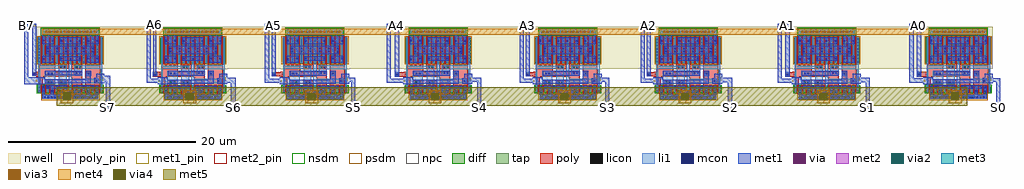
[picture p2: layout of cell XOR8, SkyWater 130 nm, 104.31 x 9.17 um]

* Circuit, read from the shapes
.subckt XOR8 A0 A1 A2 A3 A4 A5 A6 A7 B0 B1 B2 B3 B4 B5 B6 B7 S0 S1 S2 S3 S4 S5 S6 S7 VDD VSS
XM1 VSS A7 n1 VSS sky130_fd_pr__nfet_01v8 w=0.65 l=0.15
XM2 n2 n3 VSS VSS sky130_fd_pr__nfet_01v8 w=0.65 l=0.15 m=3
XM3 S7 n1 n2 VSS sky130_fd_pr__nfet_01v8 w=0.65 l=0.15 m=3
XM4 n4 A7 S7 VSS sky130_fd_pr__nfet_01v8 w=0.65 l=0.15 m=3
XM5 VSS B7 n4 VSS sky130_fd_pr__nfet_01v8 w=0.65 l=0.15 m=3
XM6 n3 B7 VSS VSS sky130_fd_pr__nfet_01v8 w=0.65 l=0.15
XM7 VSS A6 n5 VSS sky130_fd_pr__nfet_01v8 w=0.65 l=0.15
XM8 n6 n7 VSS VSS sky130_fd_pr__nfet_01v8 w=0.65 l=0.15 m=3
XM9 S6 n5 n6 VSS sky130_fd_pr__nfet_01v8 w=0.65 l=0.15 m=3
XM10 n8 A6 S6 VSS sky130_fd_pr__nfet_01v8 w=0.65 l=0.15 m=3
XM11 VSS B6 n8 VSS sky130_fd_pr__nfet_01v8 w=0.65 l=0.15 m=3
XM12 n7 B6 VSS VSS sky130_fd_pr__nfet_01v8 w=0.65 l=0.15
XM13 VSS A5 n9 VSS sky130_fd_pr__nfet_01v8 w=0.65 l=0.15
XM14 n10 n11 VSS VSS sky130_fd_pr__nfet_01v8 w=0.65 l=0.15 m=3
XM15 S5 n9 n10 VSS sky130_fd_pr__nfet_01v8 w=0.65 l=0.15 m=3
XM16 n12 A5 S5 VSS sky130_fd_pr__nfet_01v8 w=0.65 l=0.15 m=3
XM17 VSS B5 n12 VSS sky130_fd_pr__nfet_01v8 w=0.65 l=0.15 m=3
XM18 n11 B5 VSS VSS sky130_fd_pr__nfet_01v8 w=0.65 l=0.15
XM19 VSS A4 n13 VSS sky130_fd_pr__nfet_01v8 w=0.65 l=0.15
XM20 n14 n15 VSS VSS sky130_fd_pr__nfet_01v8 w=0.65 l=0.15 m=3
XM21 S4 n13 n14 VSS sky130_fd_pr__nfet_01v8 w=0.65 l=0.15 m=3
XM22 n16 A4 S4 VSS sky130_fd_pr__nfet_01v8 w=0.65 l=0.15 m=3
XM23 VSS B4 n16 VSS sky130_fd_pr__nfet_01v8 w=0.65 l=0.15 m=3
XM24 n15 B4 VSS VSS sky130_fd_pr__nfet_01v8 w=0.65 l=0.15
XM25 VSS A3 n17 VSS sky130_fd_pr__nfet_01v8 w=0.65 l=0.15
XM26 n18 n19 VSS VSS sky130_fd_pr__nfet_01v8 w=0.65 l=0.15 m=3
XM27 S3 n17 n18 VSS sky130_fd_pr__nfet_01v8 w=0.65 l=0.15 m=3
XM28 n20 A3 S3 VSS sky130_fd_pr__nfet_01v8 w=0.65 l=0.15 m=3
XM29 VSS B3 n20 VSS sky130_fd_pr__nfet_01v8 w=0.65 l=0.15 m=3
XM30 n19 B3 VSS VSS sky130_fd_pr__nfet_01v8 w=0.65 l=0.15
XM31 VSS A2 n21 VSS sky130_fd_pr__nfet_01v8 w=0.65 l=0.15
XM32 n22 n23 VSS VSS sky130_fd_pr__nfet_01v8 w=0.65 l=0.15 m=3
XM33 S2 n21 n22 VSS sky130_fd_pr__nfet_01v8 w=0.65 l=0.15 m=3
XM34 n24 A2 S2 VSS sky130_fd_pr__nfet_01v8 w=0.65 l=0.15 m=3
XM35 VSS B2 n24 VSS sky130_fd_pr__nfet_01v8 w=0.65 l=0.15 m=3
XM36 n23 B2 VSS VSS sky130_fd_pr__nfet_01v8 w=0.65 l=0.15
XM37 VSS A1 n25 VSS sky130_fd_pr__nfet_01v8 w=0.65 l=0.15
XM38 n26 n27 VSS VSS sky130_fd_pr__nfet_01v8 w=0.65 l=0.15 m=3
XM39 S1 n25 n26 VSS sky130_fd_pr__nfet_01v8 w=0.65 l=0.15 m=3
XM40 n28 A1 S1 VSS sky130_fd_pr__nfet_01v8 w=0.65 l=0.15 m=3
XM41 VSS B1 n28 VSS sky130_fd_pr__nfet_01v8 w=0.65 l=0.15 m=3
XM42 n27 B1 VSS VSS sky130_fd_pr__nfet_01v8 w=0.65 l=0.15
XM43 VSS A0 n29 VSS sky130_fd_pr__nfet_01v8 w=0.65 l=0.15
XM44 n30 n31 VSS VSS sky130_fd_pr__nfet_01v8 w=0.65 l=0.15 m=3
XM45 S0 n29 n30 VSS sky130_fd_pr__nfet_01v8 w=0.65 l=0.15 m=3
XM46 n32 A0 S0 VSS sky130_fd_pr__nfet_01v8 w=0.65 l=0.15 m=3
XM47 VSS B0 n32 VSS sky130_fd_pr__nfet_01v8 w=0.65 l=0.15 m=3
XM48 n31 B0 VSS VSS sky130_fd_pr__nfet_01v8 w=0.65 l=0.15
XM49 VDD A7 n1 VDD sky130_fd_pr__pfet_01v8 w=2.75 l=0.15
XM50 n33 A7 VDD VDD sky130_fd_pr__pfet_01v8 w=2.75 l=0.15 m=3
XM51 S7 n1 n33 VDD sky130_fd_pr__pfet_01v8 w=2.75 l=0.15 m=3
XM52 n33 n3 S7 VDD sky130_fd_pr__pfet_01v8 w=2.75 l=0.15 m=3
XM53 VDD B7 n33 VDD sky130_fd_pr__pfet_01v8 w=2.75 l=0.15 m=3
XM54 n3 B7 VDD VDD sky130_fd_pr__pfet_01v8 w=2.75 l=0.15
XM55 VDD A6 n5 VDD sky130_fd_pr__pfet_01v8 w=2.75 l=0.15
XM56 n34 A6 VDD VDD sky130_fd_pr__pfet_01v8 w=2.75 l=0.15 m=3
XM57 S6 n5 n34 VDD sky130_fd_pr__pfet_01v8 w=2.75 l=0.15 m=3
XM58 n34 n7 S6 VDD sky130_fd_pr__pfet_01v8 w=2.75 l=0.15 m=3
XM59 VDD B6 n34 VDD sky130_fd_pr__pfet_01v8 w=2.75 l=0.15 m=3
XM60 n7 B6 VDD VDD sky130_fd_pr__pfet_01v8 w=2.75 l=0.15
XM61 VDD A5 n9 VDD sky130_fd_pr__pfet_01v8 w=2.75 l=0.15
XM62 n35 A5 VDD VDD sky130_fd_pr__pfet_01v8 w=2.75 l=0.15 m=3
XM63 S5 n9 n35 VDD sky130_fd_pr__pfet_01v8 w=2.75 l=0.15 m=3
XM64 n35 n11 S5 VDD sky130_fd_pr__pfet_01v8 w=2.75 l=0.15 m=3
XM65 VDD B5 n35 VDD sky130_fd_pr__pfet_01v8 w=2.75 l=0.15 m=3
XM66 n11 B5 VDD VDD sky130_fd_pr__pfet_01v8 w=2.75 l=0.15
XM67 VDD A4 n13 VDD sky130_fd_pr__pfet_01v8 w=2.75 l=0.15
XM68 n36 A4 VDD VDD sky130_fd_pr__pfet_01v8 w=2.75 l=0.15 m=3
XM69 S4 n13 n36 VDD sky130_fd_pr__pfet_01v8 w=2.75 l=0.15 m=3
XM70 n36 n15 S4 VDD sky130_fd_pr__pfet_01v8 w=2.75 l=0.15 m=3
XM71 VDD B4 n36 VDD sky130_fd_pr__pfet_01v8 w=2.75 l=0.15 m=3
XM72 n15 B4 VDD VDD sky130_fd_pr__pfet_01v8 w=2.75 l=0.15
XM73 VDD A3 n17 VDD sky130_fd_pr__pfet_01v8 w=2.75 l=0.15
XM74 n37 A3 VDD VDD sky130_fd_pr__pfet_01v8 w=2.75 l=0.15 m=3
XM75 S3 n17 n37 VDD sky130_fd_pr__pfet_01v8 w=2.75 l=0.15 m=3
XM76 n37 n19 S3 VDD sky130_fd_pr__pfet_01v8 w=2.75 l=0.15 m=3
XM77 VDD B3 n37 VDD sky130_fd_pr__pfet_01v8 w=2.75 l=0.15 m=3
XM78 n19 B3 VDD VDD sky130_fd_pr__pfet_01v8 w=2.75 l=0.15
XM79 VDD A2 n21 VDD sky130_fd_pr__pfet_01v8 w=2.75 l=0.15
XM80 n38 A2 VDD VDD sky130_fd_pr__pfet_01v8 w=2.75 l=0.15 m=3
XM81 S2 n21 n38 VDD sky130_fd_pr__pfet_01v8 w=2.75 l=0.15 m=3
XM82 n38 n23 S2 VDD sky130_fd_pr__pfet_01v8 w=2.75 l=0.15 m=3
XM83 VDD B2 n38 VDD sky130_fd_pr__pfet_01v8 w=2.75 l=0.15 m=3
XM84 n23 B2 VDD VDD sky130_fd_pr__pfet_01v8 w=2.75 l=0.15
XM85 VDD A1 n25 VDD sky130_fd_pr__pfet_01v8 w=2.75 l=0.15
XM86 n39 A1 VDD VDD sky130_fd_pr__pfet_01v8 w=2.75 l=0.15 m=3
XM87 S1 n25 n39 VDD sky130_fd_pr__pfet_01v8 w=2.75 l=0.15 m=3
XM88 n39 n27 S1 VDD sky130_fd_pr__pfet_01v8 w=2.75 l=0.15 m=3
XM89 VDD B1 n39 VDD sky130_fd_pr__pfet_01v8 w=2.75 l=0.15 m=3
XM90 n27 B1 VDD VDD sky130_fd_pr__pfet_01v8 w=2.75 l=0.15
XM91 VDD A0 n29 VDD sky130_fd_pr__pfet_01v8 w=2.75 l=0.15
XM92 n40 A0 VDD VDD sky130_fd_pr__pfet_01v8 w=2.75 l=0.15 m=3
XM93 S0 n29 n40 VDD sky130_fd_pr__pfet_01v8 w=2.75 l=0.15 m=3
XM94 n40 n31 S0 VDD sky130_fd_pr__pfet_01v8 w=2.75 l=0.15 m=3
XM95 VDD B0 n40 VDD sky130_fd_pr__pfet_01v8 w=2.75 l=0.15 m=3
XM96 n31 B0 VDD VDD sky130_fd_pr__pfet_01v8 w=2.75 l=0.15
.ends

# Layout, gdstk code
import gdstk
lib = gdstk.Library(unit=1e-6, precision=1e-09)
def R(c, l, rs):  # rectangles x0, y0, x1, y1
    for r in rs: c.add(gdstk.rectangle(r[:2], r[2:], *l))
def A(c, l, x, y, w, h, nx, ny, dx, dy):  # array of equal rectangles
    R(c, l, [(x+i*dx, y+j*dy, x+i*dx+w, y+j*dy+h) for i in range(nx) for j in range(ny)])
nwell = (64, 20)
diff = (65, 20)
tap = (65, 44)
poly_pin = (66, 16)
poly = (66, 20)
licon = (66, 44)
li1 = (67, 20)
mcon = (67, 44)
met1_pin = (68, 16)
met1 = (68, 20)
via = (68, 44)
met2_pin = (69, 16)
met2 = (69, 20)
via2 = (69, 44)
met3 = (70, 20)
via3 = (70, 44)
met4 = (71, 20)
via4 = (71, 44)
met5 = (72, 20)
nsdm = (93, 44)
psdm = (94, 20)
npc = (95, 20)

xor2 = lib.new_cell('XOR2')
R(xor2, nwell, [(-0.435,4.32,6.855,8.82)])
R(xor2, diff, [(-0.255,1.835,6.675,2.485), (-0.255,4.935,6.675,7.685)])
R(xor2, tap, [(0.21,1.11,6.22,1.565), (0.185,7.98,6.235,8.61)])
R(xor2, poly_pin, [(-0.36,3.66,-0.24,3.86)])
A(xor2, poly, 0.495, 1.705, 0.15, 0.89, 12, 1, 0.48, 0)
A(xor2, poly, 0.495, 4.78, 0.15, 3.06, 3, 1, 0.48, 0)
A(xor2, poly, 3.375, 4.78, 0.15, 3.06, 6, 1, 0.48, 0)
A(xor2, poly, 1.935, 4.785, 0.15, 3.055, 3, 1, 0.48, 0)
R(xor2, poly, [(0.035,1.705,0.185,2.61), (6.235,1.705,6.385,2.595), (0.495,2.595,1.605,3.16), (1.935,2.595,3.045,3.135), (3.375,2.595,4.485,3.485), (4.815,2.595,6.385,4.78), (-0.13,2.61,0.25,3.485), (-0.435,3.485,4.485,4.03), (-0.13,4.03,1.615,4.78), (3.375,4.315,4.485,4.78), (1.935,4.32,3.045,4.785), (0.035,4.78,0.185,7.815), (6.235,4.78,6.385,7.815)])
A(xor2, licon, 0.415, 1.255, 0.17, 0.17, 17, 2, 0.34, 6.95)
A(xor2, licon, 0.245, 1.905, 0.17, 0.17, 13, 2, 0.48, 0.34)
A(xor2, licon, -0.195, 5.035, 0.17, 0.17, 1, 8, 0, 0.34)
A(xor2, licon, 0.245, 5.035, 0.17, 0.17, 13, 8, 0.48, 0.34)
A(xor2, licon, 6.445, 5.035, 0.17, 0.17, 1, 8, 0, 0.34)
R(xor2, licon, [(-0.195,1.905,-0.025,2.075), (6.445,1.905,6.615,2.075), (-0.195,2.245,-0.025,2.415), (6.445,2.245,6.615,2.415), (2.195,2.795,2.365,2.965), (2.535,2.795,2.705,2.965), (0.78,2.835,0.95,3.005), (1.12,2.835,1.29,3.005), (5.05,3.77,5.22,3.94), (3.81,4.415,3.98,4.585), (4.15,4.415,4.32,4.585), (2.155,4.44,2.325,4.61), (2.495,4.44,2.665,4.61)])
A(xor2, li1, 0.245, 1.815, 0.17, 0.69, 6, 1, 0.48, 0)
A(xor2, li1, 3.605, 1.815, 0.17, 0.69, 6, 1, 0.48, 0)
A(xor2, li1, 0.245, 4.915, 0.17, 2.79, 6, 1, 0.48, 0)
A(xor2, li1, 3.605, 4.915, 0.17, 2.79, 6, 1, 0.48, 0)
R(xor2, li1, [(0.21,1.11,6.22,1.565), (-0.195,1.815,-0.025,4.345), (3.125,1.815,3.295,2.63), (6.445,1.815,6.615,4.32), (3.045,2.63,3.375,2.8), (0.485,2.675,1.59,4.125), (1.99,2.685,2.815,4.345), (3.045,2.8,6.245,3.28), (3.045,3.28,3.375,4.78), (4.85,3.585,5.425,4.115), (3.605,3.62,4.49,4.32), (3.605,4.32,6.615,4.705), (-0.195,4.345,2.815,4.69), (-0.195,4.69,-0.025,7.705), (6.445,4.705,6.615,7.705), (3.125,4.78,3.295,7.705), (0.185,7.98,6.235,8.61)])
A(xor2, mcon, 0.435, 1.255, 0.17, 0.17, 16, 2, 0.36, 6.95)
A(xor2, mcon, 1.205, 1.825, 0.17, 0.17, 5, 1, 0.96, 0)
A(xor2, mcon, 3.605, 2.33, 0.17, 0.17, 3, 1, 0.96, 0)
A(xor2, mcon, 0.725, 6.09, 0.17, 0.17, 5, 2, 0.96, 0.36)
A(xor2, mcon, 3.125, 7.24, 0.17, 0.17, 4, 1, 0.96, 0)
R(xor2, mcon, [(0.245,1.895,0.415,2.065), (6.005,1.895,6.175,2.065), (0.245,2.255,0.415,2.425), (6.005,2.255,6.175,2.425), (2.645,2.325,2.815,2.495), (0.725,2.33,0.895,2.5), (1.685,2.33,1.855,2.5), (5.92,2.945,6.09,3.115), (0.8,3.77,0.97,3.94), (1.16,3.77,1.33,3.94), (5.05,3.77,5.22,3.94), (3.785,3.81,3.955,3.98), (4.145,3.81,4.315,3.98), (0.245,5.28,0.415,5.45), (3.125,5.31,3.295,5.48), (2.165,5.355,2.335,5.525), (4.085,5.355,4.255,5.525), (1.205,5.37,1.375,5.54), (5.045,5.37,5.215,5.54), (6.005,5.37,6.175,5.54), (5.525,6.085,5.695,6.255), (5.525,6.445,5.695,6.615), (2.165,7.245,2.335,7.415), (0.245,7.255,0.415,7.425), (1.205,7.255,1.375,7.425)])
R(xor2, met1_pin, [(1.84,1.28,2.31,1.41), (-0.47,2.94,-0.35,3.14), (6.48,3.08,6.74,3.47)])
R(xor2, met1, [(0.21,1.11,6.22,1.565), (0.21,1.565,0.485,2.505), (1.135,1.565,1.46,2.08), (4.965,1.565,5.29,2.075), (5.945,1.565,6.22,2.505), (2.1,1.735,4.335,2.055), (0.645,2.22,2.895,2.56), (3.525,2.22,5.775,2.56), (-0.545,2.71,0.48,2.77), (-0.545,2.77,5.42,3.2), (5.79,2.775,6.855,3.355), (-0.545,3.2,0.48,3.425), (4.845,3.2,5.42,4.12), (6,3.355,6.855,3.82), (0.55,3.625,4.495,4.12), (0.185,4.995,1.455,5.73), (4.965,4.995,6.235,5.73), (2.085,5.215,4.335,5.675), (0.645,5.895,5.775,6.79), (0.185,6.98,1.455,7.94), (2.085,6.98,4.335,7.715), (4.965,6.98,6.235,7.94), (0.185,7.94,6.235,8.61)])
A(xor2, via, 0.585, 8.215, 0.15, 0.15, 17, 1, 0.32, 0)
R(xor2, via, [(2.79,1.285,2.94,1.435)])
R(xor2, met2_pin, [(2.19,8.22,2.66,8.35)])
R(xor2, met2, [(2.66,1.155,3.07,1.565), (0.185,7.98,6.235,8.61)])
A(xor2, via2, 0.52, 8.19, 0.2, 0.2, 14, 1, 0.4, 0)
R(xor2, via2, [(2.765,1.26,2.965,1.46)])
R(xor2, met3, [(2.59,1.11,3.22,1.565), (0.185,7.98,6.235,8.61)])
A(xor2, via3, 0.52, 8.19, 0.2, 0.2, 14, 1, 0.4, 0)
R(xor2, via3, [(2.765,1.26,2.965,1.46)])
R(xor2, met4, [(2.185,0.68,3.545,2.04), (0.185,7.98,6.235,8.61)])
R(xor2, via4, [(2.465,0.96,3.265,1.76)])
R(xor2, met5, [(1.77,0.385,4.12,2.355)])
R(xor2, nsdm, [(-0.38,1.71,6.8,2.61), (0.06,7.855,6.36,8.735)])
R(xor2, psdm, [(0.085,0.985,6.345,1.69), (-0.38,4.81,6.8,7.81)])
R(xor2, npc, [(2.095,2.695,2.805,3.065), (0.68,2.735,1.39,3.105), (4.95,3.67,5.32,4.04), (3.71,4.315,4.42,4.685), (2.055,4.34,2.765,4.71)])
xor2.add(gdstk.Label('A', (-0.3,3.76), layer=66, texttype=16))
xor2.add(gdstk.Label('B', (-0.41,3.04), layer=68, texttype=16))
xor2.add(gdstk.Label('VSS', (2.075,1.345), layer=68, texttype=16))
xor2.add(gdstk.Label('VDD', (2.425,8.285), layer=68, texttype=16))
xor2.add(gdstk.Label('Y', (6.61,3.275), layer=68, texttype=16))

xor8 = lib.new_cell('XOR8')
R(xor8, nwell, [(0.11,3.935,102.31,8.435)])
R(xor8, poly, [(12.545,3.09,13.235,3.185), (0.09,3.1,0.655,3.21), (80.18,3.115,80.97,3.175), (38.435,3.12,39.45,3.18), (94.225,3.125,95.025,3.185), (25.27,3.13,26.295,3.19), (52.42,3.13,53.345,3.19), (65.36,3.145,66.21,3.205), (80.18,3.175,81.395,3.545), (38.435,3.18,39.87,3.54), (12.545,3.185,13.66,3.54), (94.225,3.185,95.475,3.555), (25.27,3.19,26.695,3.53), (52.42,3.19,53.705,3.535), (65.36,3.205,66.58,3.515), (-0.32,3.21,0.655,3.545), (65.36,3.515,66.21,3.575), (25.27,3.53,26.295,3.595), (52.42,3.535,53.345,3.595), (12.545,3.54,13.235,3.635), (38.435,3.54,39.45,3.6), (0.09,3.545,0.655,3.645), (80.18,3.545,80.97,3.605), (94.225,3.555,95.025,3.615)])
R(xor8, licon, [(12.695,3.275,12.865,3.445), (25.415,3.275,25.585,3.445), (38.59,3.275,38.76,3.445), (52.535,3.275,52.705,3.445), (65.46,3.275,65.63,3.445), (80.31,3.275,80.48,3.445), (94.355,3.285,94.525,3.455), (-0.24,3.29,-0.07,3.46)])
R(xor8, li1, [(80.26,3.145,80.53,3.175), (38.545,3.15,38.805,3.18), (12.655,3.155,12.91,3.185), (94.305,3.155,94.575,3.185), (25.38,3.16,25.62,3.19), (52.5,3.16,52.745,3.19), (65.44,3.175,65.65,3.205), (80.21,3.175,80.58,3.545), (38.495,3.18,38.855,3.54), (12.605,3.185,12.96,3.54), (94.255,3.185,94.625,3.555), (25.33,3.19,25.67,3.53), (52.45,3.19,52.795,3.535), (65.39,3.205,65.7,3.515), (-0.24,3.21,-0.07,3.27), (-0.26,3.27,-0.045,3.485), (-0.24,3.485,-0.07,3.54), (65.44,3.515,65.65,3.545), (25.38,3.53,25.62,3.56), (52.5,3.535,52.745,3.565), (12.655,3.54,12.91,3.57), (38.545,3.54,38.805,3.57), (80.26,3.545,80.53,3.575), (94.305,3.555,94.575,3.585)])
R(xor8, mcon, [(12.695,3.275,12.865,3.445), (25.415,3.275,25.585,3.445), (38.59,3.275,38.76,3.445), (52.535,3.275,52.705,3.445), (65.46,3.275,65.63,3.445), (80.31,3.275,80.48,3.445), (94.355,3.285,94.525,3.455), (-0.24,3.29,-0.07,3.46)])
R(xor8, met1_pin, [(33.87,-0.35,34.155,-0.12), (61,-0.35,61.285,-0.12), (88.815,-0.34,89.1,-0.11), (47.32,-0.335,47.605,-0.105), (102.79,-0.33,103.075,-0.1), (7.625,-0.325,7.91,-0.095), (21.03,-0.315,21.315,-0.085), (74.12,-0.315,74.405,-0.085), (-1.175,8.445,-0.78,8.755), (-0.265,8.48,0.02,8.71), (38.51,8.48,38.795,8.71), (25.35,8.49,25.635,8.72), (37.625,8.49,37.91,8.72), (93.515,8.49,93.8,8.72), (24.605,8.495,24.89,8.725), (64.78,8.495,65.065,8.725), (94.295,8.495,94.58,8.725), (80.255,8.5,80.54,8.73), (65.405,8.505,65.69,8.735), (11.995,8.51,12.28,8.74), (52.475,8.51,52.76,8.74), (79.42,8.51,79.705,8.74), (12.645,8.52,12.93,8.75), (51.85,8.52,52.135,8.75)])
R(xor8, met1, [(7.55,-0.385,8.015,2.52), (20.91,-0.385,21.43,2.46), (33.795,-0.385,34.225,2.56), (47.245,-0.385,47.66,2.59), (60.925,-0.385,61.37,2.57), (74.01,-0.385,74.485,2.525), (88.745,-0.385,89.19,2.54), (102.73,-0.385,103.11,2.545), (-1.195,2.325,0.715,3.04), (24.525,2.435,26.735,2.905), (93.41,2.435,95.515,2.93), (37.55,2.44,39.895,2.9), (79.345,2.445,81.415,2.9), (51.77,2.45,53.73,2.895), (64.715,2.455,66.62,2.89), (11.935,2.46,13.665,2.88), (19.895,2.46,21.43,2.98), (6.715,2.52,8.015,3.205), (72.865,2.525,74.485,3), (87.665,2.54,89.19,2.985), (101.775,2.545,103.11,2.925), (32.985,2.56,34.225,2.99), (59.985,2.57,61.37,3.015), (46.16,2.59,47.66,3.005), (11.935,2.88,12.355,3.6), (64.715,2.89,65.15,8.78), (51.77,2.895,52.215,8.78), (37.55,2.9,38.01,8.78), (79.345,2.9,79.8,8.78), (24.525,2.905,24.995,8.78), (93.41,2.93,93.905,8.78), (-1.195,3.04,-0.735,8.78), (80.18,3.115,80.64,8.78), (38.435,3.12,38.915,8.78), (94.225,3.125,94.685,8.78), (52.42,3.13,52.85,8.78), (65.36,3.145,65.76,8.78), (12.545,3.155,13.02,3.6), (25.27,3.16,25.73,8.78), (-0.32,3.21,0.105,8.78), (11.93,3.6,12.36,8.78), (12.605,3.6,12.96,8.78)])
R(xor8, met4, [(0.73,7.595,101.69,8.225)])
R(xor8, met5, [(2.525,0.005,99.585,1.97)])
R(xor8, npc, [(12.595,3.175,12.965,3.545), (25.315,3.175,25.685,3.545), (38.49,3.175,38.86,3.545), (52.435,3.175,52.805,3.545), (65.36,3.175,65.73,3.545), (80.21,3.175,80.58,3.545), (94.255,3.185,94.625,3.555), (-0.34,3.19,0.03,3.56)])
xor8.add(gdstk.Reference(xor2, (81.375,-0.395)))
xor8.add(gdstk.Reference(xor2, (66.59,-0.395)))
xor8.add(gdstk.Reference(xor2, (53.695,-0.395)))
xor8.add(gdstk.Reference(xor2, (39.855,-0.395)))
xor8.add(gdstk.Reference(xor2, (26.69,-0.395)))
xor8.add(gdstk.Reference(xor2, (13.645,-0.395)))
xor8.add(gdstk.Reference(xor2, (0.545,-0.385)))
xor8.add(gdstk.Reference(xor2, (95.455,-0.385)))
xor8.add(gdstk.Label('B7', (-0.977,8.6), layer=68, texttype=16))
xor8.add(gdstk.Label('A7', (-0.122,8.595), layer=68, texttype=16))
xor8.add(gdstk.Label('A6', (12.787,8.635), layer=68, texttype=16))
xor8.add(gdstk.Label('A5', (25.492,8.605), layer=68, texttype=16))
xor8.add(gdstk.Label('A4', (38.652,8.595), layer=68, texttype=16))
xor8.add(gdstk.Label('A3', (52.617,8.625), layer=68, texttype=16))
xor8.add(gdstk.Label('A2', (65.547,8.62), layer=68, texttype=16))
xor8.add(gdstk.Label('A1', (80.397,8.615), layer=68, texttype=16))
xor8.add(gdstk.Label('A0', (94.437,8.61), layer=68, texttype=16))
xor8.add(gdstk.Label('B0', (93.657,8.605), layer=68, texttype=16))
xor8.add(gdstk.Label('B1', (79.562,8.625), layer=68, texttype=16))
xor8.add(gdstk.Label('B2', (64.922,8.61), layer=68, texttype=16))
xor8.add(gdstk.Label('B3', (51.992,8.635), layer=68, texttype=16))
xor8.add(gdstk.Label('B4', (37.767,8.605), layer=68, texttype=16))
xor8.add(gdstk.Label('B5', (24.747,8.61), layer=68, texttype=16))
xor8.add(gdstk.Label('B6', (12.137,8.625), layer=68, texttype=16))
xor8.add(gdstk.Label('S7', (7.767,-0.21), layer=68, texttype=16))
xor8.add(gdstk.Label('S6', (21.172,-0.2), layer=68, texttype=16))
xor8.add(gdstk.Label('S5', (34.012,-0.235), layer=68, texttype=16))
xor8.add(gdstk.Label('S4', (47.462,-0.22), layer=68, texttype=16))
xor8.add(gdstk.Label('S3', (61.142,-0.235), layer=68, texttype=16))
xor8.add(gdstk.Label('S2', (74.262,-0.2), layer=68, texttype=16))
xor8.add(gdstk.Label('S1', (88.957,-0.225), layer=68, texttype=16))
xor8.add(gdstk.Label('S0', (102.932,-0.215), layer=68, texttype=16))

lib.write_gds('XOR8.gds')
